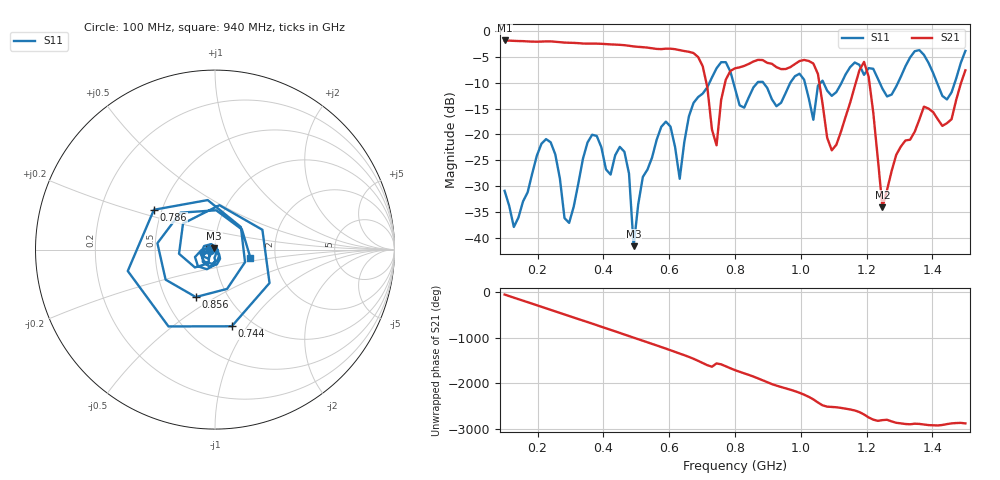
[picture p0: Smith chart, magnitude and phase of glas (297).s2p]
! NanoVNA-App
! Date: 2025-09-25 15:57:47
! Start: 100MHz Stop: 1,5GHz Points: 101
! S-Parameter data: F S11 S21 S12 S22
# Hz S RI R 50
!  Frequency  S11_Real  S11_Imag  S21_Real  S21_Imag  S12_Real  S12_Imag  S22_Real  S22_Imag
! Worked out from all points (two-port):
!   101 points, 100 MHz to 1.5 GHz, reference 50 ohm
!   highest |S21| = -1.80 dB at 100 MHz (marker M1); lowest = -34.1 dB at 1.248 GHz (marker M2)
!   |S21| within 3 dB of the highest: start of sweep to 684.1 MHz
!   lowest |S11| = -41.7 dB at 492 MHz (marker M3), VSWR 1.02, Z = 49.5 + j0.649 ohm
!   |S11| at or under -10 dB: start of sweep to 722.4 MHz; 795.3 MHz to 867.9 MHz (72.53 MHz wide, 8.72 % of centre); 886.1 MHz to 968 MHz (81.85 MHz wide, 8.83 % of centre) (the widest 3 of 7)
!   S12 and S22 are empty: the file has one direction only
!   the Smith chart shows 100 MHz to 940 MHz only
!   S11 on the Smith chart (normalised r, x): 100 MHz: 0.95, -0.01; 744 MHz: 0.81, -0.85; 786 MHz: 0.45, +0.24; 856 MHz: 0.71, -0.41; 940 MHz: 1.48, -0.14
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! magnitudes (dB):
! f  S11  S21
! 100 MHz  -30.9  -1.8
! 128 MHz  -38.0  -1.9
! 226 MHz  -20.9  -2.0
! 296 MHz  -37.2  -2.2
! 338 MHz  -24.7  -2.4
! 464 MHz  -23.4  -2.7
! 492 MHz  -41.7  -3.0
! 576 MHz  -18.5  -3.5
! 632 MHz  -28.6  -3.7
! 702 MHz  -12.1  -6.8
! 744 MHz  -7.2  -22.1
! 786 MHz  -7.8  -7.7
! 800 MHz  -11.1  -7.2
! 856 MHz  -10.9  -5.9
! 940 MHz  -13.9  -7.4
! 996 MHz  -8.2  -5.8
! 1.038 GHz  -17.2  -6.3
! 1.094 GHz  -12.5  -23.1
! 1.192 GHz  -8.5  -6.0
! 1.248 GHz  -11.2  -34.1
! 1.276 GHz  -12.3  -27.1
! 1.5 GHz  -3.8  -7.6
